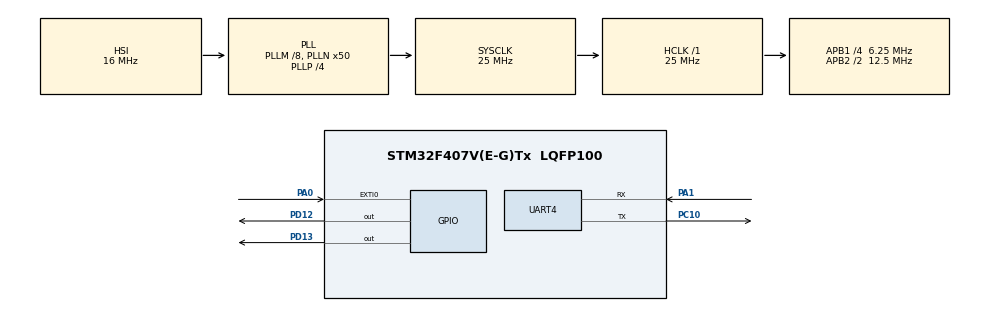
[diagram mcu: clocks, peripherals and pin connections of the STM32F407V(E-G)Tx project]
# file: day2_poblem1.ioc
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Dma.Request0=UART4_RX
Dma.UART4_RX.0.Direction=DMA_PERIPH_TO_MEMORY
Dma.UART4_RX.0.FIFOMode=DMA_FIFOMODE_DISABLE
Dma.UART4_RX.0.Instance=DMA1_Stream2
Dma.UART4_RX.0.MemDataAlignment=DMA_MDATAALIGN_BYTE
Dma.UART4_RX.0.MemInc=DMA_MINC_ENABLE
Dma.UART4_RX.0.Mode=DMA_NORMAL
Dma.UART4_RX.0.PeriphDataAlignment=DMA_PDATAALIGN_BYTE
Dma.UART4_RX.0.PeriphInc=DMA_PINC_DISABLE
Dma.UART4_RX.0.Priority=DMA_PRIORITY_LOW
Mcu.Family=STM32F4
Mcu.Name=STM32F407V(E-G)Tx
Mcu.Package=LQFP100
NVIC.DMA1_Stream2_IRQn=true\:0\:0\:false\:false\:true\:false\:true\:true
NVIC.EXTI0_IRQn=true\:0\:0\:false\:false\:true\:true\:true\:true
NVIC.PriorityGroup=NVIC_PRIORITYGROUP_0
PA0-WKUP.Signal=GPXTI0
PA1.Mode=Asynchronous
PA1.Signal=UART4_RX
PC10.Mode=Asynchronous
PC10.Signal=UART4_TX
PD12.GPIO_PuPd=GPIO_PULLDOWN
PD12.Signal=GPIO_Output
PD13.GPIO_PuPd=GPIO_PULLDOWN
PD13.PinState=GPIO_PIN_RESET
PD13.Signal=GPIO_Output
ProjectManager.HeapSize=0x200
ProjectManager.StackSize=0x400
ProjectManager.TargetToolchain=STM32CubeIDE
RCC.48MHZClocksFreq_Value=14285714.285714285
RCC.AHBFreq_Value=25000000
RCC.APB1CLKDivider=RCC_HCLK_DIV4
RCC.APB1Freq_Value=6250000
RCC.APB1TimFreq_Value=12500000
RCC.APB2CLKDivider=RCC_HCLK_DIV2
RCC.APB2Freq_Value=12500000
RCC.APB2TimFreq_Value=25000000
RCC.CortexFreq_Value=25000000
RCC.HCLKFreq_Value=25000000
RCC.HSE_VALUE=8000000
RCC.HSI_VALUE=16000000
RCC.PLLM=8
RCC.PLLN=50
RCC.PLLP=RCC_PLLP_DIV4
RCC.PLLQ=7
RCC.SYSCLKFreq_VALUE=25000000
RCC.SYSCLKSource=RCC_SYSCLKSOURCE_PLLCLK
RCC.VCOOutputFreq_Value=100000000
UART4.VirtualMode=Asynchronous
board=STM32F407G-DISC1

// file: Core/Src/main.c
/* USER CODE BEGIN Header */
/**
  ******************************************************************************
  * @file           : main.c
  * @brief          : Main program body
  ******************************************************************************
  * @attention
  *
  * Copyright (c) 2024 STMicroelectronics.
  * All rights reserved.
  *
  * This software is licensed under terms that can be found in the LICENSE file
  * in the root directory of this software component.
  * If no LICENSE file comes with this software, it is provided AS-IS.
  *
  ******************************************************************************
  */
/* USER CODE END Header */
#include "main.h"

/* USER CODE BEGIN Includes */
#include "string.h"
/* USER CODE END Includes */

UART_HandleTypeDef huart4;
DMA_HandleTypeDef hdma_uart4_rx;

void SystemClock_Config(void);
static void MX_GPIO_Init(void);
static void MX_DMA_Init(void);
static void MX_UART4_Init(void);

/* USER CODE BEGIN 0 */
uint8_t ping[]="ping";
uint8_t pong[]="pong";
uint8_t receive[5];
char receive_str[5];
int flag=5;
void EXTI0_IRQHandler(void)
{
	  HAL_GPIO_WritePin(GPIOD, GPIO_PIN_13, 0);
	  HAL_GPIO_WritePin(GPIOD, GPIO_PIN_12, 0);
	  flag=9;
	  __HAL_GPIO_EXTI_CLEAR_IT(GPIO_PIN_0);

}
void HAL_UARTEx_RxEventCallback(UART_HandleTypeDef *huart, uint16_t Size)
{
	if (huart->Instance==UART4)
	{
		HAL_UARTEx_ReceiveToIdle_DMA(&huart4,receive,sizeof(receive));
//		HAL_GPIO_WritePin(GPIOD, GPIO_PIN_12, 1);
//		HAL_GPIO_WritePin(GPIOD, GPIO_PIN_13, 1);
		int is_equal=5;
//		for(uint8_t i=0;i<4;i++)
//		{
//
//			if(receive[i]!=ping[i])
//				is_equal=0;
//		}
		if ((strcmp((char*)receive,(char*)ping))==0)
		{
			//HAL_GPIO_TogglePin(GPIOD, GPIO_PIN_13);

		//				HAL_GPIO_WritePin(GPIOD, GPIO_PIN_13, 0);
            flag=1;
			//			HAL_GPIO_WritePin(GPIOD, GPIO_PIN_12, 0);

			//HAL_UART_Transmit(&huart4, pong, sizeof(pong), 10);

		}
		else if ((strcmp((char*)receive,(char*)pong))==0)
		{
		//	HAL_GPIO_WritePin(GPIOD, GPIO_PIN_12, 0);
			 //HAL_GPIO_TogglePin(GPIOD, GPIO_PIN_12);
  flag=0;
			//HAL_GPIO_WritePin(GPIOD, GPIO_PIN_13, 0);

		}

	}

}
/* USER CODE END 0 */

int main(void)
{

  /* MCU Configuration--------------------------------------------------------*/

  /* Reset of all peripherals, Initializes the Flash interface and the Systick. */
  HAL_Init();

  /* USER CODE BEGIN Init */
//long rando_var;
//rando_var=random();
  /* USER CODE END Init */

  /* Configure the system clock */
  SystemClock_Config();

  /* Initialize all configured peripherals */
  MX_GPIO_Init();
  MX_DMA_Init();
  MX_UART4_Init();
  /* USER CODE BEGIN 2 */
  HAL_UARTEx_ReceiveToIdle_DMA(&huart4,receive,sizeof(receive));
  HAL_GPIO_WritePin(GPIOD, GPIO_PIN_13, 0);
  HAL_GPIO_WritePin(GPIOD, GPIO_PIN_12, 0);

  /* USER CODE END 2 */

  /* Infinite loop */
  while (1)
  {

    /* USER CODE BEGIN 3 */

	  if (flag==1)
	  {
		  HAL_GPIO_TogglePin(GPIOD, GPIO_PIN_13);
//		  HAL_GPIO_TogglePin(GPIOD, GPIO_PIN_12);
HAL_Delay(2000);
HAL_UART_Transmit(&huart4, pong, sizeof(pong), 100);
flag=20;

	  }
	  else 	  if (flag==0)
	  {
		  HAL_GPIO_TogglePin(GPIOD, GPIO_PIN_12);
HAL_Delay(2000);
HAL_UART_Transmit(&huart4, ping, sizeof(ping), 100);
flag=20;

	  }
	  else 	  if (flag==9)
	  	  {

	  HAL_UART_Transmit(&huart4, ping, sizeof(ping), 100);

	  	  }
  }
  /* USER CODE END 3 */
}

void SystemClock_Config(void)
{
  RCC_OscInitTypeDef RCC_OscInitStruct = {0};
  RCC_ClkInitTypeDef RCC_ClkInitStruct = {0};

  /** Configure the main internal regulator output voltage
  */
  __HAL_RCC_PWR_CLK_ENABLE();
  __HAL_PWR_VOLTAGESCALING_CONFIG(PWR_REGULATOR_VOLTAGE_SCALE1);

  /** Initializes the RCC Oscillators according to the specified parameters
  * in the RCC_OscInitTypeDef structure.
  */
  RCC_OscInitStruct.OscillatorType = RCC_OSCILLATORTYPE_HSI;
  RCC_OscInitStruct.HSIState = RCC_HSI_ON;
  RCC_OscInitStruct.HSICalibrationValue = RCC_HSICALIBRATION_DEFAULT;
  RCC_OscInitStruct.PLL.PLLState = RCC_PLL_ON;
  RCC_OscInitStruct.PLL.PLLSource = RCC_PLLSOURCE_HSI;
  RCC_OscInitStruct.PLL.PLLM = 8;
  RCC_OscInitStruct.PLL.PLLN = 50;
  RCC_OscInitStruct.PLL.PLLP = RCC_PLLP_DIV4;
  RCC_OscInitStruct.PLL.PLLQ = 7;
  if (HAL_RCC_OscConfig(&RCC_OscInitStruct) != HAL_OK)
  {
    Error_Handler();
  }

  /** Initializes the CPU, AHB and APB buses clocks
  */
  RCC_ClkInitStruct.ClockType = RCC_CLOCKTYPE_HCLK|RCC_CLOCKTYPE_SYSCLK
                              |RCC_CLOCKTYPE_PCLK1|RCC_CLOCKTYPE_PCLK2;
  RCC_ClkInitStruct.SYSCLKSource = RCC_SYSCLKSOURCE_PLLCLK;
  RCC_ClkInitStruct.AHBCLKDivider = RCC_SYSCLK_DIV1;
  RCC_ClkInitStruct.APB1CLKDivider = RCC_HCLK_DIV4;
  RCC_ClkInitStruct.APB2CLKDivider = RCC_HCLK_DIV2;

  if (HAL_RCC_ClockConfig(&RCC_ClkInitStruct, FLASH_LATENCY_0) != HAL_OK)
  {
    Error_Handler();
  }
}

static void MX_UART4_Init(void)
{

  huart4.Instance = UART4;
  huart4.Init.BaudRate = 115200;
  huart4.Init.WordLength = UART_WORDLENGTH_8B;
  huart4.Init.StopBits = UART_STOPBITS_1;
  huart4.Init.Parity = UART_PARITY_NONE;
  huart4.Init.Mode = UART_MODE_TX_RX;
  huart4.Init.HwFlowCtl = UART_HWCONTROL_NONE;
  huart4.Init.OverSampling = UART_OVERSAMPLING_16;
  if (HAL_UART_Init(&huart4) != HAL_OK)
  {
    Error_Handler();
  }

}

static void MX_DMA_Init(void)
{

  /* DMA controller clock enable */
  __HAL_RCC_DMA1_CLK_ENABLE();

  /* DMA interrupt init */
  /* DMA1_Stream2_IRQn interrupt configuration */
  HAL_NVIC_SetPriority(DMA1_Stream2_IRQn, 0, 0);
  HAL_NVIC_EnableIRQ(DMA1_Stream2_IRQn);

}

static void MX_GPIO_Init(void)
{
  GPIO_InitTypeDef GPIO_InitStruct = {0};

  /* GPIO Ports Clock Enable */
  __HAL_RCC_GPIOA_CLK_ENABLE();
  __HAL_RCC_GPIOD_CLK_ENABLE();
  __HAL_RCC_GPIOC_CLK_ENABLE();

  /*Configure GPIO pin Output Level */
  HAL_GPIO_WritePin(GPIOD, GPIO_PIN_12|GPIO_PIN_13, GPIO_PIN_RESET);

  /*Configure GPIO pin : PA0 */
  GPIO_InitStruct.Pin = GPIO_PIN_0;
  GPIO_InitStruct.Mode = GPIO_MODE_IT_RISING;
  GPIO_InitStruct.Pull = GPIO_NOPULL;
  HAL_GPIO_Init(GPIOA, &GPIO_InitStruct);

  /*Configure GPIO pins : PD12 PD13 */
  GPIO_InitStruct.Pin = GPIO_PIN_12|GPIO_PIN_13;
  GPIO_InitStruct.Mode = GPIO_MODE_OUTPUT_PP;
  GPIO_InitStruct.Pull = GPIO_PULLDOWN;
  GPIO_InitStruct.Speed = GPIO_SPEED_FREQ_LOW;
  HAL_GPIO_Init(GPIOD, &GPIO_InitStruct);

  /* EXTI interrupt init*/
  HAL_NVIC_SetPriority(EXTI0_IRQn, 0, 0);
  HAL_NVIC_EnableIRQ(EXTI0_IRQn);

}

void Error_Handler(void)
{
  __disable_irq();
  while (1)
  {
  }
}
